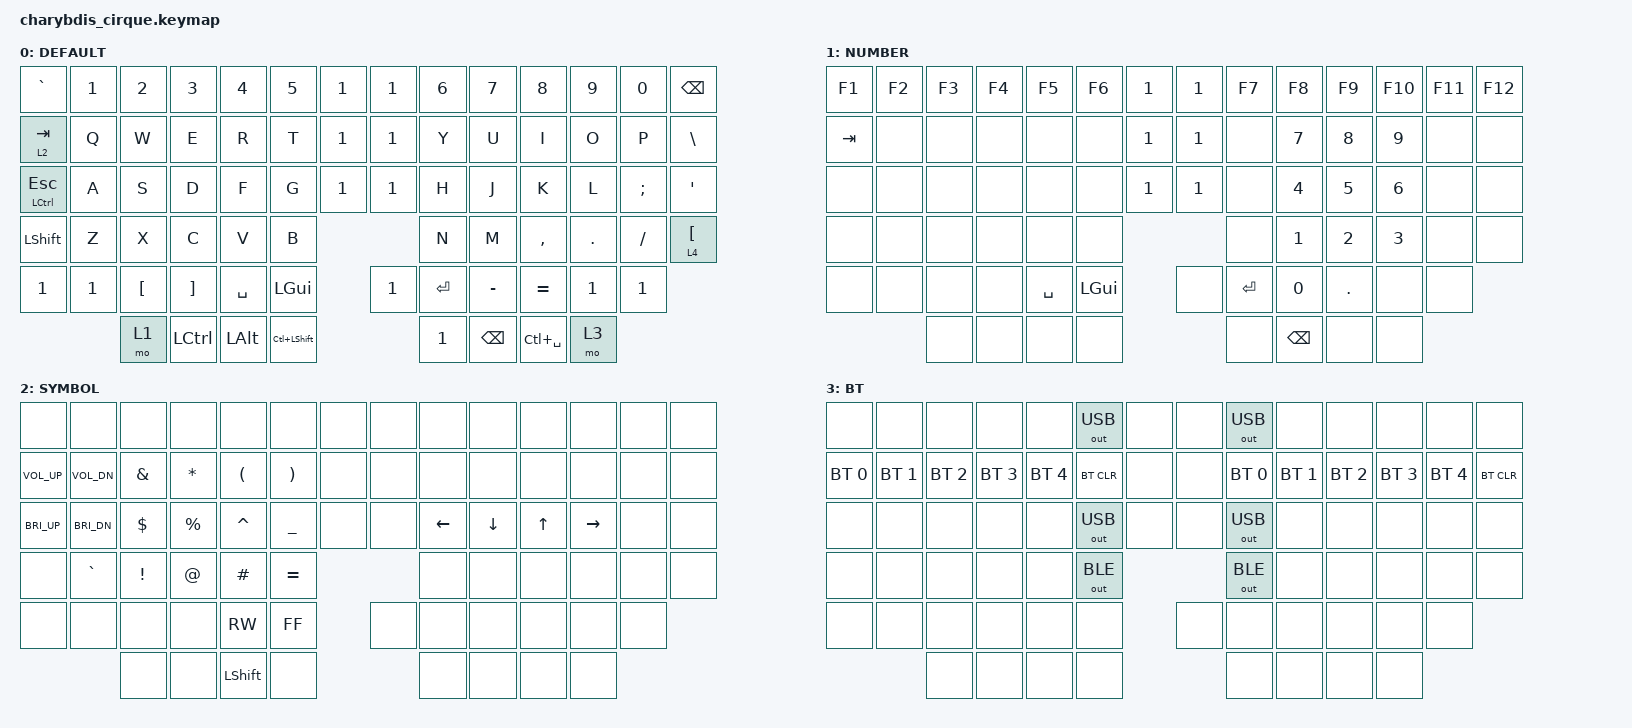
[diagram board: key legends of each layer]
#include <behaviors.dtsi>
#include <dt-bindings/zmk/keys.h>
#include <dt-bindings/zmk/bt.h>
#include <dt-bindings/zmk/outputs.h>

#define DEFAULT 0
#define NUMBER  1
#define SYMBOL  2
#define BT      3

#define AS(keycode) &as LS(keycode) keycode

/ {
    behaviors {
        td0: tap_dance_0 {
            compatible = "zmk,behavior-tap-dance";
            label = "TAP_DANCE_0";
            #binding-cells = <0>;
            tapping-term-ms = <200>;
            bindings = <&kp ESC>, <&kp TAB>;
        };

        as: auto_shift {
            compatible = "zmk,behavior-hold-tap";
            label = "AUTO_SHIFT";
            #binding-cells = <2>;
            tapping-term-ms = <200>;
            quick-tap-ms = <0>;
            flavor = "tap-preferred";
            bindings = <&kp>, <&kp>;
        };

        modcp: mod_copy {
            compatible = "zmk,behavior-mod-morph";
            label = "MOD_COPY";
            #binding-cells = <0>;
            bindings = <&as LS(C) C>, <&kp C>;
            mods = <(LGUI | RGUI)>;
        };
    };


    macros {
        macro_phone: macro_phone {
            // 1351
            label = "MACRO_PHONE";
            compatible = "zmk,behavior-macro";
            #binding-cells = <0>;
            bindings
                = < &kp N1 &kp N3 &kp N5  &kp N1>
                ;
        };
        macro_email_q: macro_email_q {
            // 2894512440@qq.com
            label = "MACRO_EMAIL_QQ";
            compatible = "zmk,behavior-macro";
            #binding-cells = <0>;
            bindings 
                = < &kp N2 &kp N8 &kp N9 &kp N4 &kp N5 &kp  N1 &kp N2 &kp N4 &kp N4 &kp N0 
                    &kp AT &kp Q &kp Q &kp DOT  &kp C &kp O &kp M>
                ;
        };
        macro_email_g: macro_email_g {
            // 135115
            compatible = "zmk,behavior-macro";
            label = "MACRO_EMAIL_GMAIL";
            #binding-cells = <0>;
            bindings
                = < &kp N1 &kp N3 &kp N5  &kp N1 &kp N1 &kp N5 > ;
        };

    };

//     combos {
//        compatible = "zmk,combos";
//        combo_esc {
//            timeout-ms = <50>;
//            key-positions = <2 38>;
//            bindings = <&kp TAB>;
//        };
//        combo_rgui {
//            timeout-ms = <50>;
//            key-positions = <3 38>;
//            bindings = <&kp CAPS>;
//        };
//
//        combo_LSHFT {
//            timeout-ms = <50>;
//            key-positions = <14 38>;
//            bindings = <&kp  LSHFT>;
//        };
//
//        combo_2 {
//            timeout-ms = <50>;
//            key-positions = <15 38>;
//            bindings = <&kp N2 >;
//        };
//        combo_3 {
//            timeout-ms = <50>;
//            key-positions = <16 38>;
//            bindings = <&kp N3>;
//        };
//        combo_LGUI {
//            timeout-ms = <50>;
//            key-positions = <26 38>;
//            bindings = <&kp LGUI>;
//        };
//        combo_GUI {
//            timeout-ms = <50>;
//            key-positions = <27 38>;
//            bindings = <&tog 1>;
//        };
//        combo_G {
//            timeout-ms = <50>;
//            key-positions = <14 39>;
//            bindings = <&mo 4>;
//        };
//        combo_GU {
//            timeout-ms = <50>;
//            key-positions = <14 39>;
//            bindings = <&mo 2>;
//        };
//        combo_m {
//            timeout-ms = <50>;
//            key-positions = <21 41>;
//            bindings = <&mo 4>;
//        };
//
//   };



    keymap {
       compatible = "zmk,keymap";
       default_layer {
            label = "DEFAULT";
            bindings = <
   &kp GRAVE      &kp N1     &kp N2     &kp N3     &kp N4     &kp N5     &kp N1    &kp N1    &kp N6     &kp N7     &kp N8     &kp N9     &kp N0     &kp BSPC
   &lt 2 TAB      &kp Q      &kp W      &kp E      &kp R      &kp T      &kp N1    &kp N1    &kp Y      &kp U      &kp I      &kp O      &kp P      &kp BSLH
   &mt LCTRL ESC  &kp A      &kp S      &kp D      &kp F      &kp G      &kp N1    &kp N1    &kp H      &kp J      &kp K      &kp L      &kp SEMI   &kp SQT
   &kp LSHIFT     &kp Z      &kp X      &kp C      &kp V      &kp B                          &kp N      &kp M      &kp COMMA  &kp DOT    &kp FSLH   &lt 4 LBKT
    &kp N1 &kp N1 &kp LBKT   &kp RBKT   &kp SPACE  &kp LGUI                       &kp N1     &kp ENTER  &kp MINUS  &kp EQUAL &kp N1 &kp N1
                              &mo 1  &kp LCTRL &kp LALT   &kp LC(LSHIFT)                      &kp N1     &kp BSPC   &kp LC(SPACE) &mo 3
            >;
        };


          number_layer {
            label = "NUMBER";
            bindings = <
   &kp F1       &kp F2       &kp F3    &kp F4    &kp F5     &kp F6     &kp N1    &kp N1      &kp F7    &kp F8     &kp F9     &kp F10    &kp F11    &kp F12
   &kp TAB      &none        &none     &none     &none      &none      &kp N1    &kp N1      &none     &kp N7     &kp N8     &kp N9     &none      &none
   &none        &none        &none     &none     &none      &none      &kp N1    &kp N1      &none     &kp N4     &kp N5     &kp N6     &none      &none
   &none        &none        &none     &none     &none      &none                            &none     &kp N1     &kp N2     &kp N3     &none      &none
    &none  &none  &none     &none     &kp SPACE  &kp LGUI                         &none     &kp ENTER  &kp N0     &kp DOT   &none  &none
                             &none     &none     &none      &none                            &none     &kp BSPC   &none      &none
             >;
         };

         symbol_layer {
            label = "SYMBOL";
            bindings = <
             &none         &none         &none     &none     &none     &none       &none &none   &none     &none     &none     &none      &none     &none
             &kp C_VOL_UP  &kp C_VOL_DN  &kp AMPS  &kp STAR  &kp LPAR  &kp RPAR    &none &none   &none     &none     &none     &none      &none     &none
             &kp C_BRI_UP  &kp C_BRI_DN  &kp DLLR  &kp PRCNT &kp CARET &kp UNDER   &none &none   &kp LEFT  &kp DOWN  &kp UP    &kp RIGHT  &none     &none
             &none         &kp GRAVE     &kp EXCL  &kp AT    &kp HASH  &kp EQUAL                  &none     &none     &none     &none      &none     &none
    &none  &none   &none     &none     &kp C_RW  &kp C_FF                       &none     &none     &none     &none   &none  &none
                                         &none     &none     &kp LSHFT &none                     &none     &none     &none     &none
             >;
        };


        hotkey_layer {
            label = "BT";
            bindings = <
 &none        &none        &none        &none        &none        &out OUT_USB    &none &none       &out OUT_USB &none        &none        &none        &none        &none
 &bt BT_SEL 0 &bt BT_SEL 1 &bt BT_SEL 2 &bt BT_SEL 3 &bt BT_SEL 4 &bt BT_CLR      &none &none       &bt BT_SEL 0 &bt BT_SEL 1 &bt BT_SEL 2 &bt BT_SEL 3 &bt BT_SEL 4 &bt BT_CLR
 &none        &none        &none        &none        &none        &out OUT_USB    &none &none       &out OUT_USB &none        &none        &none        &none        &none
 &none        &none        &none        &none        &none        &out OUT_BLE                      &out OUT_BLE &none        &none        &none        &none        &none
    &none  &none    &none        &none        &none        &none                             &none        &none        &none        &none   &none  &none
                           &none        &none        &none        &none                             &none        &none        &none        &none
            >;
        };


   };
};
